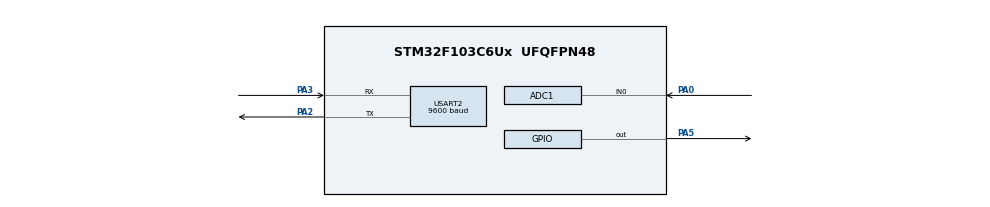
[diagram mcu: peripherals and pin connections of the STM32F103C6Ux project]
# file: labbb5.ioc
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ADC1.Channel-0\#ChannelRegularConversion=ADC_CHANNEL_0
ADC1.ContinuousConvMode=ENABLE
ADC1.NbrOfConversionFlag=1
ADC1.Rank-0\#ChannelRegularConversion=1
ADC1.SamplingTime-0\#ChannelRegularConversion=ADC_SAMPLETIME_1CYCLE_5
ADC1.master=1
Mcu.Family=STM32F1
Mcu.Name=STM32F103C6Ux
Mcu.Package=UFQFPN48
NVIC.PriorityGroup=NVIC_PRIORITYGROUP_4
NVIC.USART2_IRQn=true\:0\:0\:false\:false\:true\:true\:true
PA0-WKUP.Signal=ADCx_IN0
PA2.Mode=Asynchronous
PA2.Signal=USART2_TX
PA3.Mode=Asynchronous
PA3.Signal=USART2_RX
PA5.Signal=GPIO_Output
ProjectManager.HeapSize=0x200
ProjectManager.StackSize=0x400
ProjectManager.TargetToolchain=STM32CubeIDE
RCC.APB1Freq_Value=8000000
RCC.APB2Freq_Value=8000000
SH.ADCx_IN0.0=ADC1_IN0,IN0
SH.ADCx_IN0.1=ADC2_IN0
USART2.BaudRate=9600
USART2.VirtualMode=VM_ASYNC
VP_SYS_VS_ND.Mode=No_Debug
board=custom

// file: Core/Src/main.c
/* USER CODE BEGIN Header */
/**
  ******************************************************************************
  * @file           : main.c
  * @brief          : Main program body
  ******************************************************************************
  * @attention
  *
  * <h2><center>&copy; Copyright (c) 2025 STMicroelectronics.
  * All rights reserved.</center></h2>
  *
  * This software component is licensed by ST under BSD 3-Clause license,
  * the "License"; You may not use this file except in compliance with the
  * License. You may obtain a copy of the License at:
  *                        opensource.org/licenses/BSD-3-Clause
  *
  ******************************************************************************
  */
/* USER CODE END Header */
#include "main.h"
#include <string.h>
#include <stdio.h>
#include <stdint.h>

ADC_HandleTypeDef hadc1;

UART_HandleTypeDef huart2;

/* USER CODE BEGIN PV */
#define MAX_LENGTH_BUFFER 30

uint8_t temp = 0;
static uint8_t waiting_ack = 0;
static uint32_t deadline_ms = 0;
static uint32_t adc_value = 0;
static int command_flag = 0;

/* USER CODE END PV */

void SystemClock_Config(void);
static void MX_GPIO_Init(void);
static void MX_ADC1_Init(void);
static void MX_USART2_UART_Init(void);

/* USER CODE BEGIN 0 */

static void command_parser_fsm_byte(uint8_t ch){
  static enum { INIT, EXCLAM, R, S, T, O, K } state = INIT;
  switch (state) {
    case INIT: if (ch=='!') state=EXCLAM; break;
    case EXCLAM:
      if (ch=='R') state=R; else if (ch=='O') state=O; else state=INIT; break;
    case R: state = (ch=='S') ? S : INIT; break;
    case S: state = (ch=='T') ? T : INIT; break;
    case T: if (ch=='#'){ command_flag=1; state=INIT; } else state=INIT; break;
    case O: state = (ch=='K') ? K : INIT; break;
    case K: if (ch=='#'){ command_flag=2; state=INIT; } else state=INIT; break;
  }
}

// ===== FSM giao tiếp UART (gửi !ADC=..., ch�? !OK#, resend sau 3s) =====
static void uart_communicate_fsm(void){
  if (command_flag==1 && waiting_ack==0){
    HAL_ADC_Start(&hadc1);
    HAL_ADC_PollForConversion(&hadc1, 10);
    adc_value = HAL_ADC_GetValue(&hadc1);
    HAL_ADC_Stop(&hadc1);

    char pkt[48];
    sprintf(pkt, "!ADC=%lu#\r\n", (unsigned long)adc_value);
    HAL_UART_Transmit(&huart2, (uint8_t*)pkt, strlen(pkt), 100);

    waiting_ack = 1;
    deadline_ms = HAL_GetTick() + 3000;
    command_flag = 0;
  }

  if (command_flag==2 && waiting_ack==1){
    waiting_ack = 0;
    command_flag = 0;
  }

  if (waiting_ack && (int32_t)(HAL_GetTick() - deadline_ms) >= 0){
    char pkt[48];
    sprintf(pkt, "!ADC=%lu#\r\n", (unsigned long)adc_value);
    HAL_UART_Transmit(&huart2, (uint8_t*)pkt, strlen(pkt), 100);
    deadline_ms = HAL_GetTick() + 3000;
  }
}
/* USER CODE END 0 */

int main(void)
{

  /* MCU Configuration--------------------------------------------------------*/

  /* Reset of all peripherals, Initializes the Flash interface and the Systick. */
  HAL_Init();

  /* Configure the system clock */
  SystemClock_Config();

  /* Initialize all configured peripherals */
  MX_GPIO_Init();
  MX_ADC1_Init();
  MX_USART2_UART_Init();
  /* USER CODE BEGIN 2 */
  HAL_UART_Receive_IT(&huart2, &temp, 1);

  /* USER CODE END 2 */
  char boot[] = "Yeu Thay Sy neu thay cho eim 10\r\n";
  HAL_UART_Transmit(&huart2, (uint8_t*)boot, sizeof(boot)-1, 100);
  /* Infinite loop */
  while (1)
  {
	  uart_communicate_fsm();
	  HAL_GPIO_TogglePin(GPIOA, GPIO_PIN_5);
	    HAL_Delay(1000);
  }
}

void SystemClock_Config(void)
{
  RCC_OscInitTypeDef RCC_OscInitStruct = {0};
  RCC_ClkInitTypeDef RCC_ClkInitStruct = {0};
  RCC_PeriphCLKInitTypeDef PeriphClkInit = {0};

  /** Initializes the RCC Oscillators according to the specified parameters
  * in the RCC_OscInitTypeDef structure.
  */
  RCC_OscInitStruct.OscillatorType = RCC_OSCILLATORTYPE_HSI;
  RCC_OscInitStruct.HSIState = RCC_HSI_ON;
  RCC_OscInitStruct.HSICalibrationValue = RCC_HSICALIBRATION_DEFAULT;
  RCC_OscInitStruct.PLL.PLLState = RCC_PLL_NONE;
  if (HAL_RCC_OscConfig(&RCC_OscInitStruct) != HAL_OK)
  {
    Error_Handler();
  }
  /** Initializes the CPU, AHB and APB buses clocks
  */
  RCC_ClkInitStruct.ClockType = RCC_CLOCKTYPE_HCLK|RCC_CLOCKTYPE_SYSCLK
                              |RCC_CLOCKTYPE_PCLK1|RCC_CLOCKTYPE_PCLK2;
  RCC_ClkInitStruct.SYSCLKSource = RCC_SYSCLKSOURCE_HSI;
  RCC_ClkInitStruct.AHBCLKDivider = RCC_SYSCLK_DIV1;
  RCC_ClkInitStruct.APB1CLKDivider = RCC_HCLK_DIV1;
  RCC_ClkInitStruct.APB2CLKDivider = RCC_HCLK_DIV1;

  if (HAL_RCC_ClockConfig(&RCC_ClkInitStruct, FLASH_LATENCY_0) != HAL_OK)
  {
    Error_Handler();
  }
  PeriphClkInit.PeriphClockSelection = RCC_PERIPHCLK_ADC;
  PeriphClkInit.AdcClockSelection = RCC_ADCPCLK2_DIV2;
  if (HAL_RCCEx_PeriphCLKConfig(&PeriphClkInit) != HAL_OK)
  {
    Error_Handler();
  }
}

static void MX_ADC1_Init(void)
{

  ADC_ChannelConfTypeDef sConfig = {0};

  /** Common config
  */
  hadc1.Instance = ADC1;
  hadc1.Init.ScanConvMode = ADC_SCAN_DISABLE;
  hadc1.Init.ContinuousConvMode = ENABLE;
  hadc1.Init.DiscontinuousConvMode = DISABLE;
  hadc1.Init.ExternalTrigConv = ADC_SOFTWARE_START;
  hadc1.Init.DataAlign = ADC_DATAALIGN_RIGHT;
  hadc1.Init.NbrOfConversion = 1;
  if (HAL_ADC_Init(&hadc1) != HAL_OK)
  {
    Error_Handler();
  }
  /** Configure Regular Channel
  */
  sConfig.Channel = ADC_CHANNEL_0;
  sConfig.Rank = ADC_REGULAR_RANK_1;
  sConfig.SamplingTime = ADC_SAMPLETIME_1CYCLE_5;
  if (HAL_ADC_ConfigChannel(&hadc1, &sConfig) != HAL_OK)
  {
    Error_Handler();
  }

}

static void MX_USART2_UART_Init(void)
{

  huart2.Instance = USART2;
  huart2.Init.BaudRate = 9600;
  huart2.Init.WordLength = UART_WORDLENGTH_8B;
  huart2.Init.StopBits = UART_STOPBITS_1;
  huart2.Init.Parity = UART_PARITY_NONE;
  huart2.Init.Mode = UART_MODE_TX_RX;
  huart2.Init.HwFlowCtl = UART_HWCONTROL_NONE;
  huart2.Init.OverSampling = UART_OVERSAMPLING_16;
  if (HAL_UART_Init(&huart2) != HAL_OK)
  {
    Error_Handler();
  }

}

static void MX_GPIO_Init(void)
{
  GPIO_InitTypeDef GPIO_InitStruct = {0};

  /* GPIO Ports Clock Enable */
  __HAL_RCC_GPIOA_CLK_ENABLE();

  /*Configure GPIO pin Output Level */
  HAL_GPIO_WritePin(GPIOA, GPIO_PIN_5, GPIO_PIN_RESET);

  /*Configure GPIO pin : PA0 */
  GPIO_InitStruct.Pin = GPIO_PIN_0;
  GPIO_InitStruct.Mode = GPIO_MODE_ANALOG;
  HAL_GPIO_Init(GPIOA, &GPIO_InitStruct);

  /*Configure GPIO pin : PA5 */
  GPIO_InitStruct.Pin = GPIO_PIN_5;
  GPIO_InitStruct.Mode = GPIO_MODE_OUTPUT_PP;
  GPIO_InitStruct.Pull = GPIO_NOPULL;
  GPIO_InitStruct.Speed = GPIO_SPEED_FREQ_LOW;
  HAL_GPIO_Init(GPIOA, &GPIO_InitStruct);

}

/* USER CODE BEGIN 4 */
void HAL_UART_RxCpltCallback(UART_HandleTypeDef *huart){
  if (huart->Instance == USART2){
    command_parser_fsm_byte(temp);
    HAL_UART_Receive_IT(&huart2, &temp, 1);
  }
}
/* USER CODE END 4 */

void Error_Handler(void)
{
  __disable_irq();
  while (1)
  {
  }
}

/************************ (C) COPYRIGHT STMicroelectronics *****END OF FILE****/
